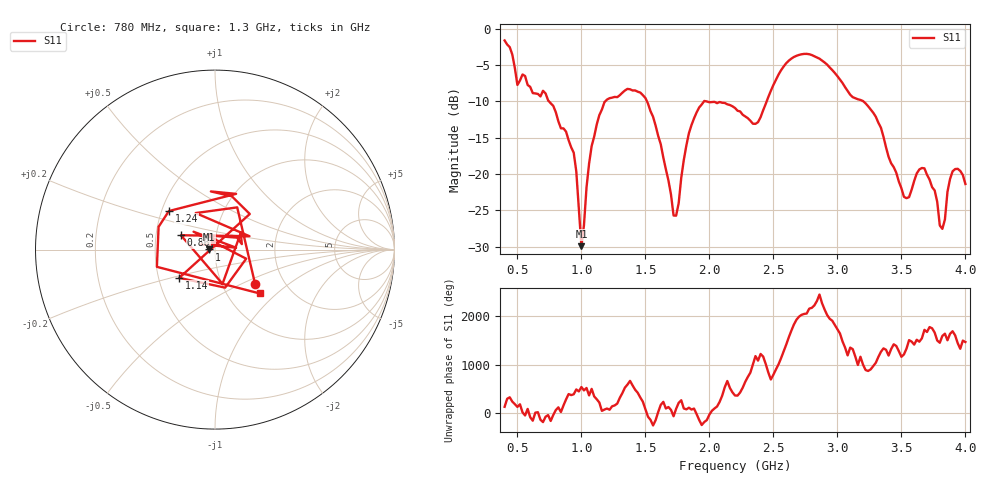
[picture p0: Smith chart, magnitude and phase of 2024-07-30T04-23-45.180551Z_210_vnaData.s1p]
!Created with skrf (http://scikit-rf.org).
# Hz S RI R 50.0
!freq ReS11 ImS11
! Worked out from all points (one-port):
!   181 points, 400 MHz to 4 GHz, reference 50 ohm
!   lowest |S11| = -29.9 dB at 1 GHz (marker M1), VSWR 1.07, Z = 46.9 + j0.0717 ohm
!   |S11| at or under -10 dB: 746.3 MHz to 1.187 GHz (440.7 MHz wide, 45.6 % of centre); 1.973 GHz to 2.448 GHz (474.7 MHz wide, 21.5 % of centre); 3.202 GHz to end of sweep (the widest 3 of 4)
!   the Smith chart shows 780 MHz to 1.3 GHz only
!   S11 on the Smith chart (normalised r, x): 780 MHz: 1.43, -0.60; 860 MHz: 0.67, +0.11; 1 GHz: 0.94, +0.00; 1.14 GHz: 0.64, -0.22; 1.24 GHz: 0.55, +0.26; 1.3 GHz: 1.41, -0.78
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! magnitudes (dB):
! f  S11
! 400 MHz  -1.6
! 500 MHz  -7.8
! 540 MHz  -6.3
! 780 MHz  -10.6
! 860 MHz  -13.7
! 940 MHz  -17.1
! 1 GHz  -29.9
! 1.06 GHz  -18.6
! 1.14 GHz  -11.9
! 1.24 GHz  -9.5
! 1.3 GHz  -9.2
! 1.5 GHz  -9.5
! 1.62 GHz  -15.9
! 1.72 GHz  -25.7
! 1.76 GHz  -24.0
! 1.84 GHz  -14.4
! 1.92 GHz  -10.9
! 2.2 GHz  -10.9
! 2.38 GHz  -12.9
! 2.66 GHz  -3.9
! 2.86 GHz  -4.1
! 3.1 GHz  -9.1
! 3.3 GHz  -12.1
! 3.56 GHz  -23.2
! 3.68 GHz  -19.2
! 3.82 GHz  -27.5
! 3.9 GHz  -19.6
! 4 GHz  -21.4
